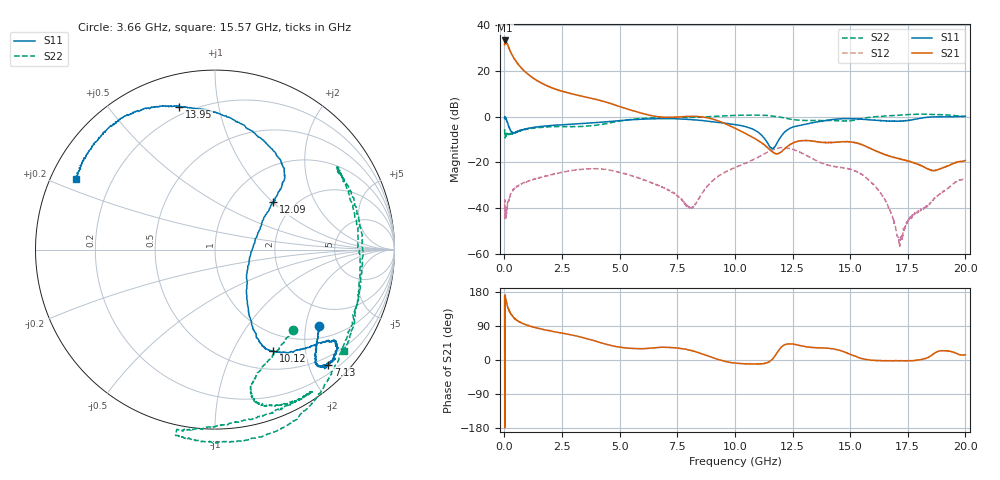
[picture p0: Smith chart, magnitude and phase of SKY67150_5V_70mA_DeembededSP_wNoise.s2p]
! Created Wed Jan 17 14:01:23 2014
!Reference plane is at the edge of Pin2 (RFin) and Pin7 (RFout)
# ghz S db R 50
! 2 Port Network Data from actual measurement using a connectorized TRL calibration covering 0.1-20 GHz, processed and fitted to remove calibration discontinuities
! freq  dbS11  angS11  dbS21  angS21  dbS12  angS12  dbS22  angS22
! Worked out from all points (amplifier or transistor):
!   2000 points, 10 MHz to 20 GHz, reference 50 ohm
!   highest |S21| = 33.3 dB at 40 MHz (marker M1)
!   |S21| within 3 dB of that: start of sweep to 180 MHz
!   unconditionally stable (mu >= 1): 227.2 MHz to 8.133 GHz; 8.143677 GHz to 8.157259 GHz; 11.95 GHz to 15.93 GHz
!   at 3.34 GHz: K = 1.34, MAG = 12.6 dB, |S12| = -23.1 dB
!   at 10.01 GHz: K = -1.44, MSG = 8.6 dB, |S12| = -22.3 dB
!   at 20 GHz: K = -0.28, MSG = 3.9 dB, |S12| = -27.1 dB
!   lowest NFmin = 0.19 dB at 850 MHz
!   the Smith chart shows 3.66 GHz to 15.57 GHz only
!   S11 on the Smith chart (normalised r, x): 3.66 GHz: 1.34, -2.38; 7.13 GHz: 0.35, -2.35; 10.12 GHz: 0.74, -1.46; 12.09 GHz: 1.57, +1.00; 13.95 GHz: 0.16, +0.77; 15.57 GHz: 0.07, +0.24
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0.01  -0.77 -14.5  31.40 166.0  -40.90 -25.5  -5.51 3.9
0.04  -0.42 -8.8  33.30 170.0  -41.30 110.0  -9.05 4.3
0.12  -2.38 -27.6  31.70 144.0  -40.60 74.7  -7.32 6.3
0.16  -3.50 -31.1  30.90 136.0  -37.60 73.5  -7.87 2.2
0.22  -4.89 -29.7  29.60 129.0  -34.90 75.1  -7.42 0.6
0.3  -6.70 -24.7  27.50 120.0  -33.50 63.0  -7.84 2.7
0.38  -7.36 -14.7  26.00 114.0  -32.00 57.1  -7.17 1.8
0.63  -6.34 -7.8  22.50 101.0  -30.00 52.5  -6.21 -2.9
1  -5.18 -10.6  18.80 91.5  -28.30 52.3  -5.51 -8.2
1.5  -4.42 -16.6  15.30 83.4  -26.80 54.5  -4.78 -14.1
3.35  -3.05 -34.1  8.94 60.0  -23.10 54.5  -4.33 -37.3
3.66  -2.85 -36.3  8.21 54.8  -22.90 52.4  -4.11 -45.7
6.68  -0.88 -43.9  -0.05 33.1  -30.10 55.3  -0.45 -63.5
7.13  -0.92 -45.4  -0.34 33.2  -32.10 63.0  -0.37 -56.4
10.01  -3.53 -58.9  -5.14 -8.2  -22.30 -176.0  0.51 -99.6
10.12  -3.71 -60.2  -5.66 -8.7  -21.80 -177.0  0.52 -97.8
12.09  -7.57 39.2  -14.70 37.6  -13.60 129.0  -0.54 -46.5
13.34  -2.77 81.2  -10.70 33.0  -18.20 85.8  -1.73 13.9
13.95  -1.72 104.0  -11.30 31.2  -20.90 82.0  -1.77 32.1
15.57  -1.20 153.0  -12.50 3.2  -25.70 48.9  -0.80 -38.1
16.67  -1.95 174.0  -17.20 -2.0  -39.70 17.3  0.32 -35.5
20  0.13 170.0  -19.20 13.5  -27.10 -13.1  -0.02 116.0
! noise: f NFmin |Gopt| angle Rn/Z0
0.4  0.3356  0.3898  -1.65  0.063
0.5  0.3287  0.1473  -60.08  0.0484
0.6  0.2702  0.2931  7.19  0.0347
0.7  0.2735  0.3735  15.75  0.0508
0.8  0.1996  0.2104  40.79  0.0494
0.95  0.1946  0.3857  39.09  0.0271
1.2  0.2327  0.3597  40.72  0.0665
1.4  0.2798  0.3207  48.16  0.0573
1.6  0.3287  0.312  75.86  0.0976
2.3  0.5014  0.2079  70.76  0.0591
